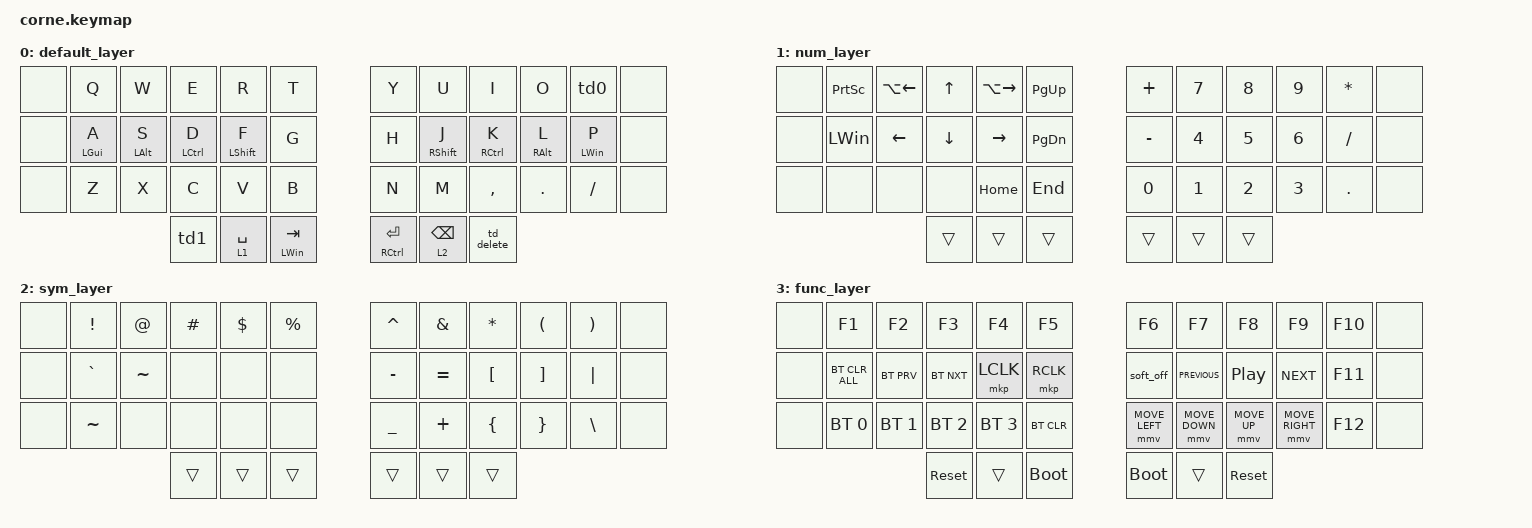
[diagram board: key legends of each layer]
/*
 * Copyright (c) 2020 The ZMK Contributors
 *
 * SPDX-License-Identifier: MIT
 */

#include <behaviors.dtsi>
#include <dt-bindings/zmk/bt.h>
#include <dt-bindings/zmk/keys.h>
#include <dt-bindings/zmk/pointing.h>

// LAYERS

#define DEFAULT 0
#define NUM     1
#define SYM     2
#define FUNC    3

// MACROS

#define SUPER LC(LSHIFT)
#define SUPER2 LA(LC(LSHIFT))

&mt {
    tapping-term-ms = <200>;
    flavor = "tap-preferred";
};

/ {
    behaviors {
        hm: homerow_mods {
            compatible = "zmk,behavior-hold-tap";
            label = "HOMEROW_MODS";
            #binding-cells = <2>;
            tapping-term-ms = <175>;
            quick-tap-ms = <0>;
            flavor = "tap-preferred";
            bindings = <&kp>, <&kp>;
        };

        td0: tap_dance_0 {
            compatible = "zmk,behavior-tap-dance";
            label = "TAP_DANCE_0";
            #binding-cells = <0>;
            tapping-term-ms = <180>;
            bindings = <&kp SEMICOLON>, <&kp SQT>;
        };

        td1: tap_dance_1 {
            compatible = "zmk,behavior-tap-dance";
            label = "TAP_DANCE_1";
            #binding-cells = <0>;
            tapping-term-ms = <180>;
            bindings = <&mt LEFT_ALT DELETE>, <&helixregistry>;
        };

        td_delete: td_delete {
            compatible = "zmk,behavior-tap-dance";
            label = "TD_DELETE";
            #binding-cells = <0>;
            tapping-term-ms = <180>;
            bindings = <&kp ESCAPE>, <&kp CAPSLOCK>;
        };
    };

    combos {
        compatible = "zmk,combos";

        combo_cword {
            timeout-ms = <50>;
            key-positions = <13 16>;
            bindings = <&caps_word>;
        };

        delword {
            bindings = <&kp LC(BACKSPACE)>;
            key-positions = <11 12 13>;
        };

        entercombo {
            bindings = <&kp ENTER>;
            key-positions = <16 17 18>;
        };

        newline {
            bindings = <&kp LS(ENTER)>;
            key-positions = <19 18 17 16>;
        };

        asterisk {
            bindings = <&kp ASTERISK>;
            key-positions = <20 21>;
        };

        quotation {
            bindings = <&kp LS(APOSTROPHE)>;
            key-positions = <21 22>;
        };

        apostrophe {
            bindings = <&kp APOSTROPHE>;
            key-positions = <22 23>;
        };

        question {
            bindings = <&kp QUESTION>;
            key-positions = <29 28>;
        };

        exclamantion {
            bindings = <&kp EXCLAMATION>;
            key-positions = <28 27>;
        };
    };

    macros {
        vim_quit: vim_quit {
            label = "ZM_vim_quit";
            compatible = "zmk,behavior-macro";
            #binding-cells = <0>;
            bindings = <&macro_tap>, <&kp ESC &kp COLON &kp W &kp Q>;
        };

        helixregistry: helixregistry {
            compatible = "zmk,behavior-macro";
            #binding-cells = <0>;
            bindings = <&kp DOUBLE_QUOTES &kp PLUS>;
            label = "HELIXREGISTRY";
        };
    };

    keymap {
        compatible = "zmk,keymap";

        default_layer {
            bindings = <
&none  &kp Q       &kp W       &kp E        &kp R         &kp T               &kp Y            &kp U            &kp I        &kp O       &td0            &none
&none  &hm LGUI A  &hm LALT S  &hm LCTRL D  &hm LSHIFT F  &kp G               &kp H            &hm RSHIFT J     &hm RCTRL K  &hm RALT L  &hm LEFT_WIN P  &none
&none  &kp Z       &kp X       &kp C        &kp V         &kp B               &kp N            &kp M            &kp COMMA    &kp DOT     &kp FSLH        &none
                               &td1         &lt 1 SPACE   &mt LEFT_WIN TAB    &mt RCTRL ENTER  &lt 2 BACKSPACE  &td_delete
            >;
        };

        num_layer {
            bindings = <
&none  &kp PRINTSCREEN  &kp LA(LEFT)  &kp UP    &kp LA(RIGHT)  &kp PG_UP    &kp PLUS   &kp N7  &kp N8  &kp N9  &kp ASTERISK  &none
&none  &kp LEFT_WIN     &kp LEFT      &kp DOWN  &kp RIGHT      &kp PG_DN    &kp MINUS  &kp N4  &kp N5  &kp N6  &kp SLASH     &none
&none  &none            &none         &none     &kp HOME       &kp END      &kp N0     &kp N1  &kp N2  &kp N3  &kp DOT       &none
                                      &trans    &trans         &trans       &trans     &trans  &trans
            >;
        };

        sym_layer {
            bindings = <
&none  &kp EXCL   &kp AT     &kp HASH  &kp DLLR  &kp PRCNT    &kp CARET  &kp AMPS   &kp ASTERISK  &kp LPAR  &kp RIGHT_PARENTHESIS  &none
&none  &kp GRAVE  &kp TILDE  &none     &none     &none        &kp MINUS  &kp EQUAL  &kp LBKT      &kp RBKT  &kp PIPE               &none
&none  &kp TILDE  &none      &none     &none     &none        &kp UNDER  &kp PLUS   &kp LBRC      &kp RBRC  &kp BACKSLASH          &none
                             &trans    &trans    &trans       &trans     &trans     &trans
            >;
        };

        func_layer {
            bindings = <
&none  &kp F1          &kp F2        &kp F3        &kp F4        &kp F5         &kp F6          &kp F7          &kp F8            &kp F9           &kp F10  &none
&none  &bt BT_CLR_ALL  &bt BT_PRV    &bt BT_NXT    &mkp LCLK     &mkp RCLK      &soft_off       &kp C_PREVIOUS  &kp C_PLAY_PAUSE  &kp C_NEXT       &kp F11  &none
&none  &bt BT_SEL 0    &bt BT_SEL 1  &bt BT_SEL 2  &bt BT_SEL 3  &bt BT_CLR     &mmv MOVE_LEFT  &mmv MOVE_DOWN  &mmv MOVE_UP      &mmv MOVE_RIGHT  &kp F12  &none
                                     &sys_reset    &trans        &bootloader    &bootloader     &trans          &sys_reset
            >;
        };
    };

    conditional_layers {
        compatible = "zmk,conditional-layers";

        funcwhenboth {
            if-layers = <1 2>;
            then-layer = <3>;
        };
    };
};
